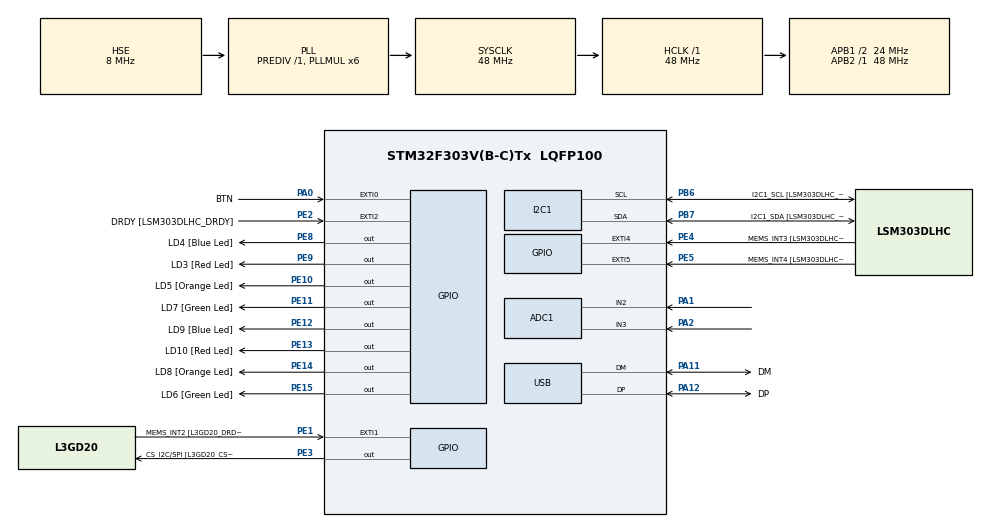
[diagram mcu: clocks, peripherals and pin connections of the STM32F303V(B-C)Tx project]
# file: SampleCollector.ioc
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ADC1.Channel-1\#ChannelRegularConversion=ADC_CHANNEL_2
ADC1.Channel-2\#ChannelRegularConversion=ADC_CHANNEL_3
ADC1.ClockPrescaler=ADC_CLOCK_ASYNC_DIV1
ADC1.ContinuousConvMode=ENABLE
ADC1.DMAContinuousRequests=ENABLE
ADC1.EOCSelection=ADC_EOC_SINGLE_CONV
ADC1.EnableAnalogWatchDog1=false
ADC1.InjNumberOfConversion=0
ADC1.NbrOfConversion=2
ADC1.NbrOfConversionFlag=1
ADC1.Offset-1\#ChannelRegularConversion=0
ADC1.Offset-2\#ChannelRegularConversion=0
ADC1.OffsetNumber-1\#ChannelRegularConversion=ADC_OFFSET_NONE
ADC1.OffsetNumber-2\#ChannelRegularConversion=ADC_OFFSET_NONE
ADC1.Rank-1\#ChannelRegularConversion=1
ADC1.Rank-2\#ChannelRegularConversion=2
ADC1.SamplingTime-1\#ChannelRegularConversion=ADC_SAMPLETIME_19CYCLES_5
ADC1.SamplingTime-2\#ChannelRegularConversion=ADC_SAMPLETIME_19CYCLES_5
ADC1.SamplingTimeOPAMP-2\#ChannelRegularConversion=ADC_SAMPLETIME_7CYCLES_5
ADC1.master=1
Dma.ADC1.0.Direction=DMA_PERIPH_TO_MEMORY
Dma.ADC1.0.Instance=DMA1_Channel1
Dma.ADC1.0.MemDataAlignment=DMA_MDATAALIGN_HALFWORD
Dma.ADC1.0.MemInc=DMA_MINC_ENABLE
Dma.ADC1.0.Mode=DMA_CIRCULAR
Dma.ADC1.0.PeriphDataAlignment=DMA_PDATAALIGN_HALFWORD
Dma.ADC1.0.PeriphInc=DMA_PINC_DISABLE
Dma.ADC1.0.Priority=DMA_PRIORITY_LOW
Dma.Request0=ADC1
I2C1.Timing-I2C=0x2000090E
Mcu.Family=STM32F3
Mcu.Name=STM32F303V(B-C)Tx
Mcu.Package=LQFP100
NVIC.DMA1_Channel1_IRQn=true\:0\:0\:false\:false\:true\:false\:true\:true
NVIC.EXTI0_IRQn=true\:0\:0\:false\:false\:true\:true\:true\:true
NVIC.PriorityGroup=NVIC_PRIORITYGROUP_0
NVIC.TIM1_BRK_TIM15_IRQn=true\:0\:0\:false\:false\:true\:true\:true\:true
NVIC.TIM1_CC_IRQn=true\:0\:0\:false\:false\:true\:true\:true\:true
NVIC.TIM1_TRG_COM_TIM17_IRQn=true\:0\:0\:false\:false\:true\:true\:true\:true
NVIC.TIM1_UP_TIM16_IRQn=true\:0\:0\:false\:false\:true\:true\:true\:true
NVIC.USB_LP_CAN_RX0_IRQn=true\:0\:0\:false\:false\:true\:false\:true\:true
PA0.GPIO_Label=BTN
PA0.GPIO_ModeDefaultEXTI=GPIO_MODE_IT_RISING
PA0.GPIO_PuPd=GPIO_NOPULL
PA0.Signal=GPXTI0
PA1.Mode=IN2-Single-Ended
PA1.Signal=ADC1_IN2
PA11.GPIO_Label=DM
PA11.Mode=Device
PA11.Signal=USB_DM
PA12.GPIO_Label=DP
PA12.Mode=Device
PA12.Signal=USB_DP
PA13.GPIO_Label=SWDIO
PA13.Mode=Serial_Wire
PA13.Signal=SYS_JTMS-SWDIO
PA14.GPIO_Label=SWCLK
PA14.Mode=Serial_Wire
PA14.Signal=SYS_JTCK-SWCLK
PA2.Mode=IN3-Single-Ended
PA2.Signal=ADC1_IN3
PA5.Signal=COMP_DAC2_group
PB3.GPIO_Label=SWO
PB3.Signal=SYS_JTDO-TRACESWO
PB6.GPIO_Label=I2C1_SCL [LSM303DLHC_SCL]
PB6.GPIO_Pu=GPIO_PULLUP
PB6.Mode=I2C
PB6.Signal=I2C1_SCL
PB7.GPIO_Label=I2C1_SDA [LSM303DLHC_SDA]
PB7.GPIO_Pu=GPIO_PULLUP
PB7.Mode=I2C
PB7.Signal=I2C1_SDA
PC14-OSC32_IN.GPIO_Label=OSC32_IN
PC14-OSC32_IN.Mode=LSE-External-Oscillator
PC14-OSC32_IN.Signal=RCC_OSC32_IN
PC15-OSC32_OUT.GPIO_Label=OSC32_OUT
PC15-OSC32_OUT.Mode=LSE-External-Oscillator
PC15-OSC32_OUT.Signal=RCC_OSC32_OUT
PE1.GPIO_Label=MEMS_INT2 [L3GD20_DRDY/INT2]
PE1.GPIO_ModeDefaultEXTI=GPIO_MODE_EVT_RISING
PE1.Signal=GPXTI1
PE10.GPIO_Label=LD5 [Orange Led]
PE10.Signal=GPIO_Output
PE11.GPIO_Label=LD7 [Green Led]
PE11.Signal=GPIO_Output
PE12.GPIO_Label=LD9 [Blue Led]
PE12.Signal=GPIO_Output
PE13.GPIO_Label=LD10 [Red Led]
PE13.Signal=GPIO_Output
PE14.GPIO_Label=LD8 [Orange Led]
PE14.Signal=GPIO_Output
PE15.GPIO_Label=LD6 [Green Led]
PE15.Signal=GPIO_Output
PE2.GPIO_Label=DRDY [LSM303DLHC_DRDY]
PE2.GPIO_ModeDefaultEXTI=GPIO_MODE_EVT_RISING
PE2.Signal=GPXTI2
PE3.GPIO_Label=CS_I2C/SPI [L3GD20_CS_I2C/SPI]
PE3.Signal=GPIO_Output
PE4.GPIO_Label=MEMS_INT3 [LSM303DLHC_INT1]
PE4.GPIO_ModeDefaultEXTI=GPIO_MODE_EVT_RISING
PE4.Signal=GPXTI4
PE5.GPIO_Label=MEMS_INT4 [LSM303DLHC_INT2]
PE5.GPIO_ModeDefaultEXTI=GPIO_MODE_EVT_RISING
PE5.Signal=GPXTI5
PE8.GPIO_Label=LD4 [Blue Led]
PE8.Signal=GPIO_Output
PE9.GPIO_Label=LD3 [Red Led]
PE9.Signal=GPIO_Output
PF0-OSC_IN.GPIO_Label=OSC_IN
PF0-OSC_IN.Mode=HSE-External-Oscillator
PF0-OSC_IN.Signal=RCC_OSC_IN
PF1-OSC_OUT.GPIO_Label=OSC_OUT
PF1-OSC_OUT.Mode=HSE-External-Oscillator
PF1-OSC_OUT.Signal=RCC_OSC_OUT
ProjectManager.HeapSize=0x200
ProjectManager.StackSize=0x400
ProjectManager.TargetToolchain=STM32CubeIDE
RCC.ADC12PRES=RCC_ADC12PLLCLK_DIV256
RCC.AHBFreq_Value=48000000
RCC.APB1CLKDivider=RCC_HCLK_DIV2
RCC.APB1Freq_Value=24000000
RCC.APB1TimFreq_Value=48000000
RCC.APB2Freq_Value=48000000
RCC.APB2TimFreq_Value=48000000
RCC.CortexFreq_Value=48000000
RCC.HCLKFreq_Value=48000000
RCC.HSE_VALUE=8000000
RCC.HSI_VALUE=8000000
RCC.PLLMUL=RCC_PLL_MUL6
RCC.SYSCLKFreq_VALUE=48000000
RCC.SYSCLKSourceVirtual=RCC_SYSCLKSOURCE_PLLCLK
RCC.USBFreq_Value=48000000
SH.COMP_DAC2_group.0=DAC_OUT2
TIM1.Period=25
TIM1.Prescaler=36000
USB_DEVICE.CLASS_NAME_FS=CDC
USB_DEVICE.VirtualMode=Cdc
USB_DEVICE.VirtualModeFS=Cdc_FS
VP_TIM1_VS_ClockSourceINT.Mode=Internal
VP_USB_DEVICE_VS_USB_DEVICE_CDC_FS.Mode=CDC_FS
board=STM32F3DISCOVERY

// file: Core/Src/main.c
/* USER CODE BEGIN Header */
/**
  ******************************************************************************
  * @file           : main.c
  * @brief          : Main program body
  ******************************************************************************
  * @attention
  *
  * Copyright (c) 2023 STMicroelectronics.
  * All rights reserved.
  *
  * This software is licensed under terms that can be found in the LICENSE file
  * in the root directory of this software component.
  * If no LICENSE file comes with this software, it is provided AS-IS.
  *
  ******************************************************************************
  */
/* USER CODE END Header */
#include "main.h"
#include "usb_device.h"

/* USER CODE BEGIN Includes */
#include "usbd_cdc_if.h"
#include "stdbool.h"
/* USER CODE END Includes */

ADC_HandleTypeDef hadc1;
DMA_HandleTypeDef hdma_adc1;

I2C_HandleTypeDef hi2c1;

TIM_HandleTypeDef htim1;

/* USER CODE BEGIN PV */
//#define buf_size 8096
#define buf_size 8096
uint16_t adc1_buf[buf_size] = {};
bool writing = false;
bool waiting_btn = true;
/* USER CODE END PV */

void SystemClock_Config(void);
static void MX_GPIO_Init(void);
static void MX_DMA_Init(void);
static void MX_I2C1_Init(void);
static void MX_ADC1_Init(void);
static void MX_TIM1_Init(void);

int main(void)
{

  /* MCU Configuration--------------------------------------------------------*/

  /* Reset of all peripherals, Initializes the Flash interface and the Systick. */
  HAL_Init();

  /* Configure the system clock */
  SystemClock_Config();

  /* Initialize all configured peripherals */
  MX_GPIO_Init();
  MX_DMA_Init();
  MX_I2C1_Init();
  MX_ADC1_Init();
  MX_USB_DEVICE_Init();
  MX_TIM1_Init();
  /* USER CODE BEGIN 2 */
  HAL_ADCEx_Calibration_Start(&hadc1, ADC_SINGLE_ENDED);
  HAL_ADC_Start_DMA(&hadc1, adc1_buf, buf_size);
  /* USER CODE END 2 */

  /* Infinite loop */
  /* USER CODE BEGIN WHILE */
  while (1)
  {
	char a[5] = {};
	if (writing) {
	  uint32_t n = 0;
	  for (uint32_t i = 0; i < buf_size; i++) {
        n = sprintf(a, "%u ", adc1_buf[i]);
        while (CDC_Transmit_FS(a, n) == USBD_BUSY) {}
	  }
	  writing = false;
	  HAL_Delay(500);
	  HAL_GPIO_WritePin(LD3_GPIO_Port, LD3_Pin, GPIO_PIN_RESET);
	}

    /* USER CODE END WHILE */

  }
}

void SystemClock_Config(void)
{
  RCC_OscInitTypeDef RCC_OscInitStruct = {0};
  RCC_ClkInitTypeDef RCC_ClkInitStruct = {0};
  RCC_PeriphCLKInitTypeDef PeriphClkInit = {0};

  /** Initializes the RCC Oscillators according to the specified parameters
  * in the RCC_OscInitTypeDef structure.
  */
  RCC_OscInitStruct.OscillatorType = RCC_OSCILLATORTYPE_HSI|RCC_OSCILLATORTYPE_HSE;
  RCC_OscInitStruct.HSEState = RCC_HSE_ON;
  RCC_OscInitStruct.HSEPredivValue = RCC_HSE_PREDIV_DIV1;
  RCC_OscInitStruct.HSIState = RCC_HSI_ON;
  RCC_OscInitStruct.HSICalibrationValue = RCC_HSICALIBRATION_DEFAULT;
  RCC_OscInitStruct.PLL.PLLState = RCC_PLL_ON;
  RCC_OscInitStruct.PLL.PLLSource = RCC_PLLSOURCE_HSE;
  RCC_OscInitStruct.PLL.PLLMUL = RCC_PLL_MUL6;
  if (HAL_RCC_OscConfig(&RCC_OscInitStruct) != HAL_OK)
  {
    Error_Handler();
  }

  /** Initializes the CPU, AHB and APB buses clocks
  */
  RCC_ClkInitStruct.ClockType = RCC_CLOCKTYPE_HCLK|RCC_CLOCKTYPE_SYSCLK
                              |RCC_CLOCKTYPE_PCLK1|RCC_CLOCKTYPE_PCLK2;
  RCC_ClkInitStruct.SYSCLKSource = RCC_SYSCLKSOURCE_PLLCLK;
  RCC_ClkInitStruct.AHBCLKDivider = RCC_SYSCLK_DIV1;
  RCC_ClkInitStruct.APB1CLKDivider = RCC_HCLK_DIV2;
  RCC_ClkInitStruct.APB2CLKDivider = RCC_HCLK_DIV1;

  if (HAL_RCC_ClockConfig(&RCC_ClkInitStruct, FLASH_LATENCY_1) != HAL_OK)
  {
    Error_Handler();
  }
  PeriphClkInit.PeriphClockSelection = RCC_PERIPHCLK_USB|RCC_PERIPHCLK_I2C1
                              |RCC_PERIPHCLK_TIM1|RCC_PERIPHCLK_ADC12;
  PeriphClkInit.Adc12ClockSelection = RCC_ADC12PLLCLK_DIV256;
  PeriphClkInit.I2c1ClockSelection = RCC_I2C1CLKSOURCE_HSI;
  PeriphClkInit.USBClockSelection = RCC_USBCLKSOURCE_PLL;
  PeriphClkInit.Tim1ClockSelection = RCC_TIM1CLK_HCLK;
  if (HAL_RCCEx_PeriphCLKConfig(&PeriphClkInit) != HAL_OK)
  {
    Error_Handler();
  }
}

static void MX_ADC1_Init(void)
{

  ADC_MultiModeTypeDef multimode = {0};
  ADC_ChannelConfTypeDef sConfig = {0};

  /** Common config
  */
  hadc1.Instance = ADC1;
  hadc1.Init.ClockPrescaler = ADC_CLOCK_ASYNC_DIV1;
  hadc1.Init.Resolution = ADC_RESOLUTION_12B;
  hadc1.Init.ScanConvMode = ADC_SCAN_ENABLE;
  hadc1.Init.ContinuousConvMode = ENABLE;
  hadc1.Init.DiscontinuousConvMode = DISABLE;
  hadc1.Init.ExternalTrigConvEdge = ADC_EXTERNALTRIGCONVEDGE_NONE;
  hadc1.Init.ExternalTrigConv = ADC_SOFTWARE_START;
  hadc1.Init.DataAlign = ADC_DATAALIGN_RIGHT;
  hadc1.Init.NbrOfConversion = 2;
  hadc1.Init.DMAContinuousRequests = ENABLE;
  hadc1.Init.EOCSelection = ADC_EOC_SINGLE_CONV;
  hadc1.Init.LowPowerAutoWait = DISABLE;
  hadc1.Init.Overrun = ADC_OVR_DATA_OVERWRITTEN;
  if (HAL_ADC_Init(&hadc1) != HAL_OK)
  {
    Error_Handler();
  }

  /** Configure the ADC multi-mode
  */
  multimode.Mode = ADC_MODE_INDEPENDENT;
  if (HAL_ADCEx_MultiModeConfigChannel(&hadc1, &multimode) != HAL_OK)
  {
    Error_Handler();
  }

  /** Configure Regular Channel
  */
  sConfig.Channel = ADC_CHANNEL_2;
  sConfig.Rank = ADC_REGULAR_RANK_1;
  sConfig.SingleDiff = ADC_SINGLE_ENDED;
  sConfig.SamplingTime = ADC_SAMPLETIME_19CYCLES_5;
  sConfig.OffsetNumber = ADC_OFFSET_NONE;
  sConfig.Offset = 0;
  if (HAL_ADC_ConfigChannel(&hadc1, &sConfig) != HAL_OK)
  {
    Error_Handler();
  }

  /** Configure Regular Channel
  */
  sConfig.Channel = ADC_CHANNEL_3;
  sConfig.Rank = ADC_REGULAR_RANK_2;
  if (HAL_ADC_ConfigChannel(&hadc1, &sConfig) != HAL_OK)
  {
    Error_Handler();
  }

}

static void MX_I2C1_Init(void)
{

  hi2c1.Instance = I2C1;
  hi2c1.Init.Timing = 0x2000090E;
  hi2c1.Init.OwnAddress1 = 0;
  hi2c1.Init.AddressingMode = I2C_ADDRESSINGMODE_7BIT;
  hi2c1.Init.DualAddressMode = I2C_DUALADDRESS_DISABLE;
  hi2c1.Init.OwnAddress2 = 0;
  hi2c1.Init.OwnAddress2Masks = I2C_OA2_NOMASK;
  hi2c1.Init.GeneralCallMode = I2C_GENERALCALL_DISABLE;
  hi2c1.Init.NoStretchMode = I2C_NOSTRETCH_DISABLE;
  if (HAL_I2C_Init(&hi2c1) != HAL_OK)
  {
    Error_Handler();
  }

  /** Configure Analogue filter
  */
  if (HAL_I2CEx_ConfigAnalogFilter(&hi2c1, I2C_ANALOGFILTER_ENABLE) != HAL_OK)
  {
    Error_Handler();
  }

  /** Configure Digital filter
  */
  if (HAL_I2CEx_ConfigDigitalFilter(&hi2c1, 0) != HAL_OK)
  {
    Error_Handler();
  }

}

static void MX_TIM1_Init(void)
{

  TIM_ClockConfigTypeDef sClockSourceConfig = {0};
  TIM_MasterConfigTypeDef sMasterConfig = {0};

  htim1.Instance = TIM1;
  htim1.Init.Prescaler = 36000;
  htim1.Init.CounterMode = TIM_COUNTERMODE_UP;
  htim1.Init.Period = 25;
  htim1.Init.ClockDivision = TIM_CLOCKDIVISION_DIV1;
  htim1.Init.RepetitionCounter = 0;
  htim1.Init.AutoReloadPreload = TIM_AUTORELOAD_PRELOAD_DISABLE;
  if (HAL_TIM_Base_Init(&htim1) != HAL_OK)
  {
    Error_Handler();
  }
  sClockSourceConfig.ClockSource = TIM_CLOCKSOURCE_INTERNAL;
  if (HAL_TIM_ConfigClockSource(&htim1, &sClockSourceConfig) != HAL_OK)
  {
    Error_Handler();
  }
  sMasterConfig.MasterOutputTrigger = TIM_TRGO_RESET;
  sMasterConfig.MasterOutputTrigger2 = TIM_TRGO2_RESET;
  sMasterConfig.MasterSlaveMode = TIM_MASTERSLAVEMODE_DISABLE;
  if (HAL_TIMEx_MasterConfigSynchronization(&htim1, &sMasterConfig) != HAL_OK)
  {
    Error_Handler();
  }

}

static void MX_DMA_Init(void)
{

  /* DMA controller clock enable */
  __HAL_RCC_DMA1_CLK_ENABLE();

  /* DMA interrupt init */
  /* DMA1_Channel1_IRQn interrupt configuration */
  HAL_NVIC_SetPriority(DMA1_Channel1_IRQn, 0, 0);
  HAL_NVIC_EnableIRQ(DMA1_Channel1_IRQn);

}

static void MX_GPIO_Init(void)
{
  GPIO_InitTypeDef GPIO_InitStruct = {0};

  /* GPIO Ports Clock Enable */
  __HAL_RCC_GPIOE_CLK_ENABLE();
  __HAL_RCC_GPIOC_CLK_ENABLE();
  __HAL_RCC_GPIOF_CLK_ENABLE();
  __HAL_RCC_GPIOA_CLK_ENABLE();
  __HAL_RCC_GPIOB_CLK_ENABLE();

  /*Configure GPIO pin Output Level */
  HAL_GPIO_WritePin(GPIOE, CS_I2C_SPI_Pin|LD4_Pin|LD3_Pin|LD5_Pin
                          |LD7_Pin|LD9_Pin|LD10_Pin|LD8_Pin
                          |LD6_Pin, GPIO_PIN_RESET);

  /*Configure GPIO pins : DRDY_Pin MEMS_INT3_Pin MEMS_INT4_Pin MEMS_INT2_Pin */
  GPIO_InitStruct.Pin = DRDY_Pin|MEMS_INT3_Pin|MEMS_INT4_Pin|MEMS_INT2_Pin;
  GPIO_InitStruct.Mode = GPIO_MODE_EVT_RISING;
  GPIO_InitStruct.Pull = GPIO_NOPULL;
  HAL_GPIO_Init(GPIOE, &GPIO_InitStruct);

  /*Configure GPIO pins : CS_I2C_SPI_Pin LD4_Pin LD3_Pin LD5_Pin
                           LD7_Pin LD9_Pin LD10_Pin LD8_Pin
                           LD6_Pin */
  GPIO_InitStruct.Pin = CS_I2C_SPI_Pin|LD4_Pin|LD3_Pin|LD5_Pin
                          |LD7_Pin|LD9_Pin|LD10_Pin|LD8_Pin
                          |LD6_Pin;
  GPIO_InitStruct.Mode = GPIO_MODE_OUTPUT_PP;
  GPIO_InitStruct.Pull = GPIO_NOPULL;
  GPIO_InitStruct.Speed = GPIO_SPEED_FREQ_LOW;
  HAL_GPIO_Init(GPIOE, &GPIO_InitStruct);

  /*Configure GPIO pin : BTN_Pin */
  GPIO_InitStruct.Pin = BTN_Pin;
  GPIO_InitStruct.Mode = GPIO_MODE_IT_RISING;
  GPIO_InitStruct.Pull = GPIO_NOPULL;
  HAL_GPIO_Init(BTN_GPIO_Port, &GPIO_InitStruct);

  /*Configure GPIO pin : PA5 */
  GPIO_InitStruct.Pin = GPIO_PIN_5;
  GPIO_InitStruct.Mode = GPIO_MODE_ANALOG;
  GPIO_InitStruct.Pull = GPIO_NOPULL;
  HAL_GPIO_Init(GPIOA, &GPIO_InitStruct);

  /* EXTI interrupt init*/
  HAL_NVIC_SetPriority(EXTI0_IRQn, 0, 0);
  HAL_NVIC_EnableIRQ(EXTI0_IRQn);

}

/* USER CODE BEGIN 4 */
void HAL_ADC_ConvCpltCallback(ADC_HandleTypeDef* hadc)
{
    HAL_ADC_Stop_DMA(hadc);
    HAL_GPIO_WritePin(LD5_GPIO_Port, LD5_Pin, GPIO_PIN_RESET);
    writing = true;
    HAL_GPIO_WritePin(LD3_GPIO_Port, LD3_Pin, GPIO_PIN_SET);
}

void HAL_GPIO_EXTI_Callback(uint16_t GPIO_Pin)
{
	if(GPIO_Pin == BTN_Pin && waiting_btn == true){
		HAL_TIM_Base_Start_IT(&htim1);
		waiting_btn = false;
	}
	else{
		__NOP();
	}
}

void HAL_TIM_PeriodElapsedCallback(TIM_HandleTypeDef *htim)
{
	if(HAL_GPIO_ReadPin(BTN_GPIO_Port, BTN_Pin) == GPIO_PIN_SET && htim == &htim1){
		HAL_TIM_Base_Stop_IT(&htim1);
		waiting_btn = true;
		writing = false;
		HAL_GPIO_WritePin(LD5_GPIO_Port, LD5_Pin, GPIO_PIN_SET);
		HAL_ADC_Start_DMA(&hadc1,adc1_buf, buf_size);
	}
}

/* USER CODE END 4 */

void Error_Handler(void)
{
  __disable_irq();
  while (1)
  {
  }
}
